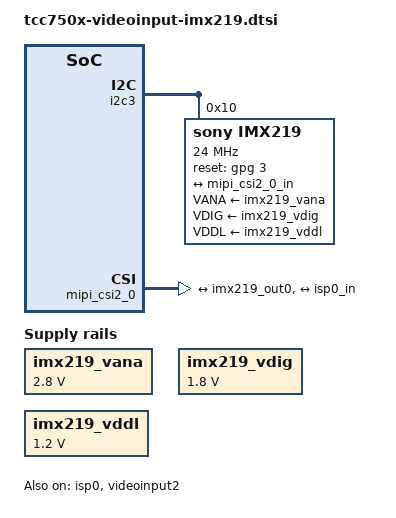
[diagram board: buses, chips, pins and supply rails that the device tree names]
/ {
        imx219_vana: fixedregulator@0 {
                compatible = "regulator-fixed";
                regulator-name = "imx219_vana";
                regulator-min-microvolt = <2800000>;
                regulator-max-microvolt = <2800000>;
                enable-active-high;
                regulator-always-on;
        };

        imx219_vdig: fixedregulator@1 {
                compatible = "regulator-fixed";
                regulator-name = "imx219_vdig";
                regulator-min-microvolt = <1800000>;
                regulator-max-microvolt = <1800000>;
                enable-active-high;
                regulator-always-on;
        };

        imx219_vddl: fixedregulator@2 {
                compatible = "regulator-fixed";
                regulator-name = "imx219_vddl";
                regulator-min-microvolt = <1200000>;
                regulator-max-microvolt = <1200000>;
                enable-active-high;
                regulator-always-on;
        };

        imx219_clk: imx219_clk {
                compatible = "fixed-clock";
                #clock-cells = <1>;
                clock-frequency = <24000000>;
        };
};

&i2c3 {
        status = "okay";
        imx219@10 {
                compatible = "sony,imx219";
                status = "okay";
                reg = <0x10>;

                clocks = <&imx219_clk 200>;
                clock-names = "xclk";
                clock-frequency = <24000000>;

                VANA-supply = <&imx219_vana>;   // 2.8v
                VDIG-supply = <&imx219_vdig>;   // 1.8v
                VDDL-supply = <&imx219_vddl>;   // 1.2v

                reset-gpios = <&gpg 3 GPIO_ACTIVE_HIGH>;

                ports {
                        #address-cells = <1>;
                        #size-cells = <0>;
                        port@0 {
                                reg = <0>;
                                imx219_out0: endpoint@0 {
                                        remote-endpoint = <&mipi_csi2_0_in>;
                                        io-direction = "output";
                                        channel = <0>;

                                        clock-lanes = <0>;
                                        data-lanes = <1 2>;
                                        clock-noncontinuous;
                                        link-frequencies =
                                                /bits/ 64 <456000000>;
                                };
                        };
                };
        };
};

&mipi_csi2_0 {
        status = "okay";
        ports {
                #address-cells = <1>;
                #size-cells = <0>;
                /*
                 * 0
                 * input port.
                 *
                 * 1 ~ 4
                 * output ports. (1: VC0 ~ 4: VC3)
                 */
                port@0 {
                        reg = <0>;
                        mipi_csi2_0_in: endpoint {
                                remote-endpoint = <&imx219_out0>;
                                io-direction    = "input";
                                num-channel     = <4>;

                                /*
                                 * 0: CH0 only, no data interleave
                                 * 1: DT only
                                 * 2: VC only
                                 * 3: VC and DT
                                 */
                                interleave-mode = <0>;
                                hs-settle = <13>;
                                data-lanes = <1 2>;
                        };
                };
                port@1 {
                        reg = <1>;
                        mipi_csi2_0_out0: endpoint {
                                remote-endpoint = <&isp0_in>;
                                io-direction    = "output";
                                channel         = <0>;
                                /*
                                 * 0: Single pixel mode
                                 * 1: Dual pixel mode (RAW8/10/12, YUV422)
                                 * 2: Quad pixel mode (RAW8/10/12)
                                 * 3: Invalid
                                 */
                                pixel-mode = <0>;
                        };
                };
                port@2 {
                        reg = <2>;
                        mipi_csi2_0_out1: endpoint {
                                io-direction    = "output";
                                channel         = <1>;
                                pixel-mode = <0>;
                        };
                };
                port@3 {
                        reg = <3>;
                        mipi_csi2_0_out2: endpoint {
                                io-direction    = "output";
                                channel         = <2>;
                                pixel-mode = <0>;
                        };
                };
                port@4 {
                        reg = <4>;
                        mipi_csi2_0_out3: endpoint {
                                io-direction    = "output";
                                channel         = <3>;
                                pixel-mode = <0>;
                        };
                };
        };
};

&mipi_wrap {
        isp0-bypass = <0>;
};

&isp0 {
        status = "okay";
        mem_share = <1>;
        /*
         * 0: RGGB
         * 1: RCCB (ISP0 only)
         * 2: RCCC (ISP0 only)
         * 3: RGBIR (ISP0 only)
         */
        cfa = <0>;

        /* buffer for 3DNR */
        //memory-region = <&pmap_isp0_3dnr>;

        /*
         * Crop output image (X, Y)
         * X: The number of left pixel. It will also crop X pixels of right.
         * Y: The number of top pixel. It will also crop Y pixels of bottom.
         * The default value is (8, 8).
         */
        out_win_crop = <4 8>;

        ports {
                #address-cells = <1>;
                #size-cells = <0>;
                port@0 {
                        reg = <0>;
                        isp0_in: endpoint {
                                remote-endpoint = <&mipi_csi2_0_out0>;
                                io-direction    = "input";
                        };
                };
                port@1 {
                        reg = <1>;
                        isp0_out: endpoint {
                                remote-endpoint = <&videoinput2_in>;
                                io-direction    = "output";
                        };
                };
        };
};

&videoinput2 {
        status          = "okay";
        /* memory-region
         *  - [0]: parking guideline
         *  - [1]: deinterlacing by viqe
         *  - [2]: preview
         *  - [3]: last frame
         */
        cam-ch = <0>;
        memory-region   = <0
						   0
						   &pmap_rearcamera2
						   0>;
        port {
                videoinput2_in: endpoint {
                        remote-endpoint = <&isp0_out>;
                        io-direction    = "input";
                        stream-enable   = <1>;  // VIN_CTRL.SE
                        flush-vsync     = <1>;  // VIN_MISC.FVS
                };
        };
};

